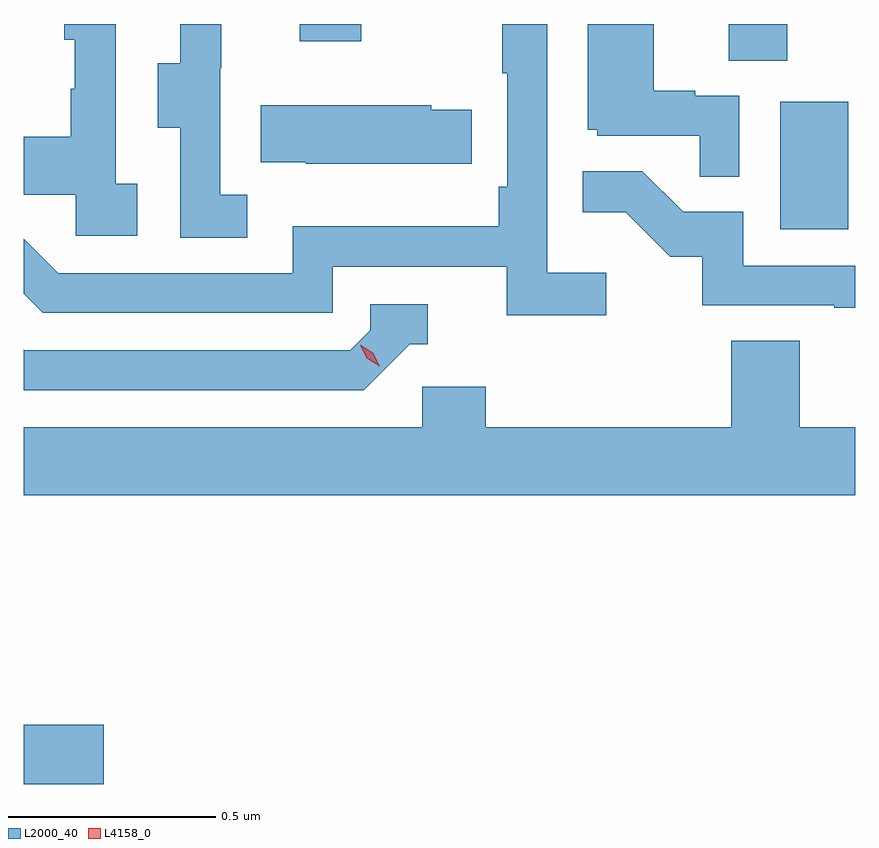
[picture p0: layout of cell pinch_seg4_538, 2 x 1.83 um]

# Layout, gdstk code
import gdstk
lib = gdstk.Library(unit=1e-6, precision=1e-09)
def R(c, l, rs):  # rectangles x0, y0, x1, y1
    for r in rs: c.add(gdstk.rectangle(r[:2], r[2:], *l))
def P(c, l, *ps):  # polygons
    for p in ps: c.add(gdstk.Polygon(p, *l))
L2000_40 = (2000, 40)
L4158_0 = (4158, 0)

pinch_seg4_538 = lib.new_cell('pinch_seg4_538')
R(pinch_seg4_538, L2000_40, [(1139.011,772.15,1139.203,772.292), (1140.83,773.484,1140.994,773.791), (1140.707,773.89,1140.847,773.978), (1139.675,773.937,1139.823,773.978)])
P(pinch_seg4_538, L2000_40, [(1140.412,773.38),(1140.27,773.38),(1140.27,773.978),(1140.162,773.978),(1140.162,773.86),(1140.174,773.86),(1140.174,773.587),(1140.154,773.587),(1140.154,773.491),(1139.658,773.491),(1139.658,773.379),(1139.094,773.379),(1139.011,773.462),(1139.011,773.329),(1139.057,773.283),(1139.754,773.283),(1139.754,773.394),(1140.173,773.394),(1140.173,773.278),(1140.412,773.278)],
  [(1139.548,773.567),(1139.484,773.567),(1139.484,773.871),(1139.486,773.871),(1139.486,773.978),(1139.387,773.978),(1139.387,773.883),(1139.333,773.883),(1139.333,773.728),(1139.388,773.728),(1139.388,773.464),(1139.548,773.464)],
  [(1140.732,773.805),(1140.626,773.805),(1140.626,773.818),(1140.526,773.818),(1140.526,773.978),(1140.368,773.978),(1140.368,773.724),(1140.39,773.724),(1140.39,773.709),(1140.637,773.709),(1140.637,773.611),(1140.732,773.611)],
  [(1139.284,773.594),(1139.232,773.594),(1139.232,773.978),(1139.108,773.978),(1139.108,773.94),(1139.134,773.94),(1139.134,773.822),(1139.124,773.822),(1139.124,773.707),(1139.011,773.707),(1139.011,773.567),(1139.136,773.567),(1139.136,773.469),(1139.284,773.469)],
  [(1140.089,773.772),(1139.991,773.772),(1139.991,773.782),(1139.581,773.782),(1139.581,773.645),(1139.689,773.645),(1139.689,773.642),(1140.089,773.642)],
  [(1141.011,773.397),(1140.741,773.397),(1140.741,773.526),(1140.597,773.526),(1140.499,773.624),(1140.355,773.624),(1140.355,773.525),(1140.459,773.525),(1140.566,773.418),(1140.643,773.418),(1140.643,773.301),(1140.961,773.301),(1140.961,773.296),(1141.011,773.296)],
  [(1139.94,773.208),(1139.983,773.208),(1139.983,773.304),(1139.844,773.304),(1139.844,773.241),(1139.796,773.193),(1139.013,773.193),(1139.011,773.195),(1139.011,773.097),(1139.829,773.097)],
  [(1141.011,773.008),(1140.878,773.008),(1140.878,773.216),(1140.713,773.216),(1140.713,773.008),(1140.122,773.008),(1140.122,773.106),(1139.97,773.106),(1139.97,773.008),(1139.011,773.008),(1139.011,772.844),(1141.011,772.844)])
P(pinch_seg4_538, L4158_0, [(1139.867,773.155),(1139.836,773.174),(1139.82,773.206),(1139.82,773.207),(1139.82,773.207),(1139.851,773.187),(1139.867,773.155),(1139.867,773.155)])

lib.write_gds('pinch_seg4_538.gds')
